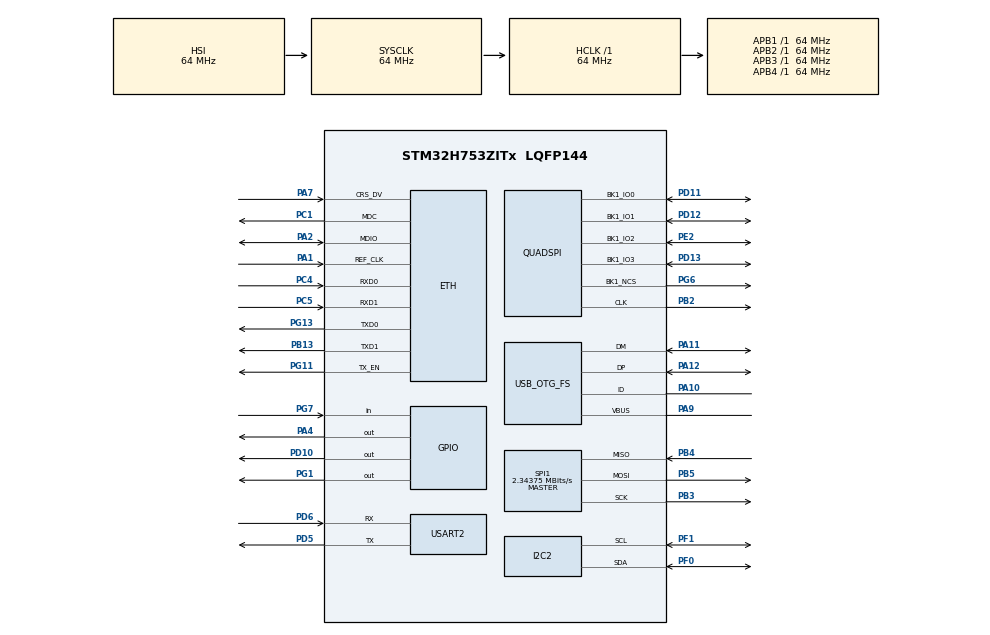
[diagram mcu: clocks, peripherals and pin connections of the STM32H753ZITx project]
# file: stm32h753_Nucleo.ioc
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CORTEX_M7.AccessPermission_S-Cortex_Memory_Protection_Unit_Region1_Settings_S=MPU_REGION_FULL_ACCESS
CORTEX_M7.BaseAddress_S-Cortex_Memory_Protection_Unit_Region1_Settings_S=0x30040000
CORTEX_M7.CPU_DCache=Enabled
CORTEX_M7.CPU_ICache=Disabled
CORTEX_M7.DisableExec_S-Cortex_Memory_Protection_Unit_Region1_Settings_S=MPU_INSTRUCTION_ACCESS_DISABLE
CORTEX_M7.Enable_S-Cortex_Memory_Protection_Unit_Region1_Settings_S=MPU_REGION_ENABLE
CORTEX_M7.IsBufferable_S-Cortex_Memory_Protection_Unit_Region1_Settings_S=MPU_ACCESS_BUFFERABLE
CORTEX_M7.IsShareable_S-Cortex_Memory_Protection_Unit_Region1_Settings_S=MPU_ACCESS_SHAREABLE
CORTEX_M7.MPU_Control=MPU_PRIVILEGED_DEFAULT
CORTEX_M7.Size_S-Cortex_Memory_Protection_Unit_Region1_Settings_S=MPU_REGION_SIZE_1KB
CORTEX_M7.default_mode_Activation=1
ETH.MACAddr=02\:00\:00\:00\:00\:01
ETH.MediaInterface=HAL_ETH_RMII_MODE
ETH.RxBufferAddress=0x30040400
ETH.RxDescAddress=0x30040000
ETH.TxDescAddress=0x30040200
LWIP.BSP.number=1
LWIP.GATEWAY_ADDRESS=192.168.002.001
LWIP.IP_ADDRESS=192.168.002.010
LWIP.LWIP_DHCP=0
LWIP.MEM_SIZE=16*1024
LWIP.NETMASK_ADDRESS=255.255.255.000
LWIP.TCP_MSS=1460
LWIP.TCP_SND_BUF=5840
LWIP.TCP_SND_QUEUELEN=16
LWIP.TCP_WND=5840
LWIP.Version=v2.2.1_Cube
LWIP0.BSP.STBoard=false
LWIP0.BSP.api=BSP_COMPONENT_DRIVER
LWIP0.BSP.component=LAN8742
LWIP0.BSP.instance=LAN8742
LWIP0.BSP.name=Driver_PHY
LWIP0.BSP.semaphore=S_LAN8742
LWIP0.BSP.solution=LAN8742
MBEDTLS.MBEDTLS_RNG_IP=HW_RNG
MBEDTLS.MBEDTLS_SSL_CLI_C=0
MBEDTLS.MBEDTLS_SSL_SRV_C=1
MBEDTLS.MBEDTLS_TCP_IP=0
Mcu.Family=STM32H7
Mcu.Name=STM32H753ZITx
Mcu.Package=LQFP144
NUCLEO-H753ZI.BUTTON=1
NUCLEO-H753ZI.Bsp_Common_DEMO=true
NUCLEO-H753ZI.LD1=true
NUCLEO-H753ZI.LD2=true
NUCLEO-H753ZI.LD3=true
NUCLEO-H753ZI.VCP=true
NVIC.ETH_IRQn=true\:0\:0\:false\:false\:true\:true\:true\:true
NVIC.EXTI15_10_IRQn=true\:0\:0\:false\:false\:true\:false\:true\:true
NVIC.PriorityGroup=NVIC_PRIORITYGROUP_4
NVIC.USART2_IRQn=true\:0\:0\:false\:false\:true\:true\:true\:true
PA1.Mode=RMII
PA1.Signal=ETH_REF_CLK
PA10.Mode=OTG/Dual_Role_Device
PA10.Signal=USB_OTG_FS_ID
PA11.Mode=OTG/Dual_Role_Device
PA11.Signal=USB_OTG_FS_DM
PA12.Mode=OTG/Dual_Role_Device
PA12.Signal=USB_OTG_FS_DP
PA2.Mode=RMII
PA2.Signal=ETH_MDIO
PA4.Signal=GPIO_Output
PA7.Mode=RMII
PA7.Signal=ETH_CRS_DV
PA9.Mode=Activate_VBUS_BCD
PA9.Signal=USB_OTG_FS_VBUS
PB13.Mode=RMII
PB13.Signal=ETH_TXD1
PB2.Mode=Single Bank 1
PB2.Signal=QUADSPI_CLK
PB3\ (JTDO/TRACESWO).Mode=Full_Duplex_Master
PB3\ (JTDO/TRACESWO).Signal=SPI1_SCK
PB4\ (NJTRST).Mode=Full_Duplex_Master
PB4\ (NJTRST).Signal=SPI1_MISO
PB5.Mode=Full_Duplex_Master
PB5.Signal=SPI1_MOSI
PC1.Mode=RMII
PC1.Signal=ETH_MDC
PC14-OSC32_IN\ (OSC32_IN).Signal=RCC_OSC32_IN
PC15-OSC32_OUT\ (OSC32_OUT).Signal=RCC_OSC32_OUT
PC4.Mode=RMII
PC4.Signal=ETH_RXD0
PC5.Mode=RMII
PC5.Signal=ETH_RXD1
PD10.Signal=GPIO_Output
PD11.Mode=Single Bank 1
PD11.Signal=QUADSPI_BK1_IO0
PD12.Mode=Single Bank 1
PD12.Signal=QUADSPI_BK1_IO1
PD13.Mode=Single Bank 1
PD13.Signal=QUADSPI_BK1_IO3
PD5.Mode=Asynchronous
PD5.Signal=USART2_TX
PD6.Mode=Asynchronous
PD6.Signal=USART2_RX
PD8.Signal=USART3_TX
PD9.Signal=USART3_RX
PE2.Mode=Single Bank 1
PE2.Signal=QUADSPI_BK1_IO2
PF0.Mode=I2C
PF0.Signal=I2C2_SDA
PF1.Mode=I2C
PF1.Signal=I2C2_SCL
PG1.GPIO_PuPd=GPIO_PULLDOWN
PG1.GPIO_Speed=GPIO_SPEED_FREQ_HIGH
PG1.Signal=GPIO_Output
PG11.Mode=RMII
PG11.Signal=ETH_TX_EN
PG13.Mode=RMII
PG13.Signal=ETH_TXD0
PG6.Mode=Single Bank 1
PG6.Signal=QUADSPI_BK1_NCS
PG7.Signal=GPIO_Input
PH0-OSC_IN\ (PH0).Signal=RCC_OSC_IN
PH1-OSC_OUT\ (PH1).Signal=RCC_OSC_OUT
ProjectManager.HeapSize=0x10000
ProjectManager.StackSize=0x2000
ProjectManager.TargetToolchain=STM32CubeIDE
RCC.ADCFreq_Value=129000000
RCC.APB1Freq_Value=64000000
RCC.APB2Freq_Value=64000000
RCC.APB3Freq_Value=64000000
RCC.APB4Freq_Value=64000000
RCC.CortexFreq_Value=64000000
RCC.DIVM1=4
RCC.DIVN1=9
RCC.DIVQ1=1
RCC.HCLKFreq_Value=64000000
RCC.HSE_VALUE=8000000
RCC.PLLFRACN=3072
RCC.PWR_Regulator_Voltage_Scale=PWR_REGULATOR_VOLTAGE_SCALE2
RCC.SYSCLKFreq_VALUE=64000000
RCC.USBCLockSelection=RCC_USBCLKSOURCE_HSI48
RCC.USBFreq_Value=48000000
SPI1.BaudRatePrescaler=SPI_BAUDRATEPRESCALER_64
SPI1.CalculateBaudRate=2.34375 MBits/s
SPI1.DataSize=SPI_DATASIZE_8BIT
SPI1.Direction=SPI_DIRECTION_2LINES
SPI1.Mode=SPI_MODE_MASTER
SPI1.NSSPMode=SPI_NSS_PULSE_DISABLE
SPI1.VirtualType=VM_MASTER
USART2.VirtualMode-Asynchronous=VM_ASYNC
USB_OTG_FS.VirtualMode=Dual_Role_Device_FS
VP_LWIP_VS_Enabled.Mode=Enabled
VP_MBEDTLS_VS_MBEDTLS.Mode=Enabled
VP_MEMORYMAP_VS_MEMORYMAP.Mode=CurAppReg
VP_NUCLEO-H753ZI_VS_BSP_COMMON.Mode=COMMON
VP_RNG_VS_RNG.Mode=RNG_Activate
VP_USB_OTG_FS1_USB_OTG_FS_DRD.Mode=activate_FS
board=NUCLEO-H753ZI

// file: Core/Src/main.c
/* USER CODE BEGIN Header */
/**
  ******************************************************************************
  * @file           : main.c
  * @brief          : Main program body
  ******************************************************************************
  * @attention
  *
  * Copyright (c) 2026 STMicroelectronics.
  * All rights reserved.
  *
  * This software is licensed under terms that can be found in the LICENSE file
  * in the root directory of this software component.
  * If no LICENSE file comes with this software, it is provided AS-IS.
  *
  ******************************************************************************
  */
/* USER CODE END Header */
#include "main.h"
#include "mbedtls.h"

/* USER CODE BEGIN Includes */
#include "lwip.h"
#include "uart_receive.h"
#include "command_parser.h"
/* USER CODE END Includes */

/* USER CODE BEGIN PD */
#define STRING_DATA_LENGTH 128
/* USER CODE END PD */

COM_InitTypeDef BspCOMInit;
__IO uint32_t BspButtonState = BUTTON_RELEASED;

I2C_HandleTypeDef hi2c2;

QSPI_HandleTypeDef hqspi;

RNG_HandleTypeDef hrng;

SPI_HandleTypeDef hspi1;

UART_HandleTypeDef huart2;

PCD_HandleTypeDef hpcd_USB_OTG_FS;
HCD_HandleTypeDef hhcd_USB_OTG_FS;

void SystemClock_Config(void);
static void MPU_Config(void);
static void MX_GPIO_Init(void);
static void MX_I2C2_Init(void);
static void MX_QUADSPI_Init(void);
static void MX_SPI1_Init(void);
static void MX_USART2_UART_Init(void);
static void MX_USB_OTG_FS_PCD_Init(void);
static void MX_RNG_Init(void);
/* USER CODE BEGIN PFP */
void Application_Execute(void);
void ETH_CheckMemoryLayout(void);
/* USER CODE END PFP */

/* USER CODE BEGIN 0 */
uint8_t send_data[STRING_DATA_LENGTH] = "";
/* USER CODE END 0 */

int main(void)
{

  /* MPU Configuration--------------------------------------------------------*/
  MPU_Config();

  /* Enable D-Cache---------------------------------------------------------*/
  SCB_EnableDCache();

  /* MCU Configuration--------------------------------------------------------*/

  /* Reset of all peripherals, Initializes the Flash interface and the Systick. */
  HAL_Init();

  /* Configure the system clock */
  SystemClock_Config();

  /* Initialize all configured peripherals */
  MX_GPIO_Init();
  MX_I2C2_Init();
  MX_QUADSPI_Init();
  MX_SPI1_Init();
  MX_USART2_UART_Init();
  MX_USB_OTG_FS_PCD_Init();
  MX_RNG_Init();
  MX_MBEDTLS_Init();
  MX_LWIP_Init();
  /* USER CODE BEGIN 2 */
  CommandParser_Init();
  UART_Receive_Start();

  /* USER CODE END 2 */

  /* Initialize leds */
  BSP_LED_Init(LED_GREEN);
  BSP_LED_Init(LED_YELLOW);
  BSP_LED_Init(LED_RED);

  /* Initialize USER push-button, will be used to trigger an interrupt each time it's pressed.*/
  BSP_PB_Init(BUTTON_USER, BUTTON_MODE_EXTI);

  /* Initialize COM1 port (115200, 8 bits (7-bit data + 1 stop bit), no parity */
  BspCOMInit.BaudRate   = 115200;
  BspCOMInit.WordLength = COM_WORDLENGTH_8B;
  BspCOMInit.StopBits   = COM_STOPBITS_1;
  BspCOMInit.Parity     = COM_PARITY_NONE;
  BspCOMInit.HwFlowCtl  = COM_HWCONTROL_NONE;
  if (BSP_COM_Init(COM1, &BspCOMInit) != BSP_ERROR_NONE)
  {
    Error_Handler();
  }

  /* USER CODE BEGIN BSP */

  /* -- Sample board code to send message over COM1 port ---- */
  printf("Welcome to STM32 world !\n\r");

  /* -- Sample board code to switch on leds ---- */
  BSP_LED_On(LED_GREEN);
  BSP_LED_On(LED_YELLOW);
  BSP_LED_On(LED_RED);

  /* USER CODE END BSP */

  /* Infinite loop */
  /* USER CODE BEGIN WHILE */
  strncpy((char *)send_data, "=== STM32H753 Ethernet Test ===\r\n", STRING_DATA_LENGTH);
  HAL_UART_Transmit(&huart2, send_data, STRING_DATA_LENGTH, 100);
  strncpy((char *)send_data, "Boot OK\r\n", STRING_DATA_LENGTH);
  HAL_UART_Transmit(&huart2, send_data, STRING_DATA_LENGTH, 100);
  strncpy((char *)send_data, "===============================\r\n", STRING_DATA_LENGTH);
  HAL_UART_Transmit(&huart2, send_data, STRING_DATA_LENGTH, 100);

  ETH_CheckMemoryLayout();
  while (1)
  {

    /* -- Sample board code for User push-button in interrupt mode ---- */
    if (BspButtonState == BUTTON_PRESSED)
    {
      /* Update button state */
      BspButtonState = BUTTON_RELEASED;
      /* -- Sample board code to toggle leds ---- */
      BSP_LED_Toggle(LED_GREEN);
      BSP_LED_Toggle(LED_YELLOW);
      BSP_LED_Toggle(LED_RED);

      /* ..... Perform your action ..... */
    }

    /*
     * 受信済みの文字を取り出して解析する。
     */
//    CommandParser_Execute();

    /*
     * その他のアプリケーション処理
     */
//    Application_Execute();
    MX_LWIP_Process();
    /* USER CODE END WHILE */

  }
}

void SystemClock_Config(void)
{
  RCC_OscInitTypeDef RCC_OscInitStruct = {0};
  RCC_ClkInitTypeDef RCC_ClkInitStruct = {0};

  /** Supply configuration update enable
  */
  HAL_PWREx_ConfigSupply(PWR_LDO_SUPPLY);

  /** Configure the main internal regulator output voltage
  */
  __HAL_PWR_VOLTAGESCALING_CONFIG(PWR_REGULATOR_VOLTAGE_SCALE2);

  while(!__HAL_PWR_GET_FLAG(PWR_FLAG_VOSRDY)) {}

  /** Initializes the RCC Oscillators according to the specified parameters
  * in the RCC_OscInitTypeDef structure.
  */
  RCC_OscInitStruct.OscillatorType = RCC_OSCILLATORTYPE_HSI48|RCC_OSCILLATORTYPE_HSI;
  RCC_OscInitStruct.HSIState = RCC_HSI_DIV1;
  RCC_OscInitStruct.HSICalibrationValue = RCC_HSICALIBRATION_DEFAULT;
  RCC_OscInitStruct.HSI48State = RCC_HSI48_ON;
  RCC_OscInitStruct.PLL.PLLState = RCC_PLL_ON;
  RCC_OscInitStruct.PLL.PLLSource = RCC_PLLSOURCE_HSI;
  RCC_OscInitStruct.PLL.PLLM = 4;
  RCC_OscInitStruct.PLL.PLLN = 9;
  RCC_OscInitStruct.PLL.PLLP = 2;
  RCC_OscInitStruct.PLL.PLLQ = 1;
  RCC_OscInitStruct.PLL.PLLR = 2;
  RCC_OscInitStruct.PLL.PLLRGE = RCC_PLL1VCIRANGE_3;
  RCC_OscInitStruct.PLL.PLLVCOSEL = RCC_PLL1VCOMEDIUM;
  RCC_OscInitStruct.PLL.PLLFRACN = 3072;
  if (HAL_RCC_OscConfig(&RCC_OscInitStruct) != HAL_OK)
  {
    Error_Handler();
  }

  /** Initializes the CPU, AHB and APB buses clocks
  */
  RCC_ClkInitStruct.ClockType = RCC_CLOCKTYPE_HCLK|RCC_CLOCKTYPE_SYSCLK
                              |RCC_CLOCKTYPE_PCLK1|RCC_CLOCKTYPE_PCLK2
                              |RCC_CLOCKTYPE_D3PCLK1|RCC_CLOCKTYPE_D1PCLK1;
  RCC_ClkInitStruct.SYSCLKSource = RCC_SYSCLKSOURCE_HSI;
  RCC_ClkInitStruct.SYSCLKDivider = RCC_SYSCLK_DIV1;
  RCC_ClkInitStruct.AHBCLKDivider = RCC_HCLK_DIV1;
  RCC_ClkInitStruct.APB3CLKDivider = RCC_APB3_DIV1;
  RCC_ClkInitStruct.APB1CLKDivider = RCC_APB1_DIV1;
  RCC_ClkInitStruct.APB2CLKDivider = RCC_APB2_DIV1;
  RCC_ClkInitStruct.APB4CLKDivider = RCC_APB4_DIV1;

  if (HAL_RCC_ClockConfig(&RCC_ClkInitStruct, FLASH_LATENCY_1) != HAL_OK)
  {
    Error_Handler();
  }
}

static void MX_I2C2_Init(void)
{

  hi2c2.Instance = I2C2;
  hi2c2.Init.Timing = 0x10707DBC;
  hi2c2.Init.OwnAddress1 = 0;
  hi2c2.Init.AddressingMode = I2C_ADDRESSINGMODE_7BIT;
  hi2c2.Init.DualAddressMode = I2C_DUALADDRESS_DISABLE;
  hi2c2.Init.OwnAddress2 = 0;
  hi2c2.Init.OwnAddress2Masks = I2C_OA2_NOMASK;
  hi2c2.Init.GeneralCallMode = I2C_GENERALCALL_DISABLE;
  hi2c2.Init.NoStretchMode = I2C_NOSTRETCH_DISABLE;
  if (HAL_I2C_Init(&hi2c2) != HAL_OK)
  {
    Error_Handler();
  }

  /** Configure Analogue filter
  */
  if (HAL_I2CEx_ConfigAnalogFilter(&hi2c2, I2C_ANALOGFILTER_ENABLE) != HAL_OK)
  {
    Error_Handler();
  }

  /** Configure Digital filter
  */
  if (HAL_I2CEx_ConfigDigitalFilter(&hi2c2, 0) != HAL_OK)
  {
    Error_Handler();
  }

}

static void MX_QUADSPI_Init(void)
{

  /* QUADSPI parameter configuration*/
  hqspi.Instance = QUADSPI;
  hqspi.Init.ClockPrescaler = 255;
  hqspi.Init.FifoThreshold = 1;
  hqspi.Init.SampleShifting = QSPI_SAMPLE_SHIFTING_NONE;
  hqspi.Init.FlashSize = 1;
  hqspi.Init.ChipSelectHighTime = QSPI_CS_HIGH_TIME_1_CYCLE;
  hqspi.Init.ClockMode = QSPI_CLOCK_MODE_0;
  hqspi.Init.FlashID = QSPI_FLASH_ID_1;
  hqspi.Init.DualFlash = QSPI_DUALFLASH_DISABLE;
  if (HAL_QSPI_Init(&hqspi) != HAL_OK)
  {
    Error_Handler();
  }

}

static void MX_RNG_Init(void)
{

  hrng.Instance = RNG;
  hrng.Init.ClockErrorDetection = RNG_CED_ENABLE;
  if (HAL_RNG_Init(&hrng) != HAL_OK)
  {
    Error_Handler();
  }

}

static void MX_SPI1_Init(void)
{

  /* SPI1 parameter configuration*/
  hspi1.Instance = SPI1;
  hspi1.Init.Mode = SPI_MODE_MASTER;
  hspi1.Init.Direction = SPI_DIRECTION_2LINES;
  hspi1.Init.DataSize = SPI_DATASIZE_8BIT;
  hspi1.Init.CLKPolarity = SPI_POLARITY_LOW;
  hspi1.Init.CLKPhase = SPI_PHASE_1EDGE;
  hspi1.Init.NSS = SPI_NSS_SOFT;
  hspi1.Init.BaudRatePrescaler = SPI_BAUDRATEPRESCALER_64;
  hspi1.Init.FirstBit = SPI_FIRSTBIT_MSB;
  hspi1.Init.TIMode = SPI_TIMODE_DISABLE;
  hspi1.Init.CRCCalculation = SPI_CRCCALCULATION_DISABLE;
  hspi1.Init.CRCPolynomial = 0x0;
  hspi1.Init.NSSPMode = SPI_NSS_PULSE_DISABLE;
  hspi1.Init.NSSPolarity = SPI_NSS_POLARITY_LOW;
  hspi1.Init.FifoThreshold = SPI_FIFO_THRESHOLD_01DATA;
  hspi1.Init.TxCRCInitializationPattern = SPI_CRC_INITIALIZATION_ALL_ZERO_PATTERN;
  hspi1.Init.RxCRCInitializationPattern = SPI_CRC_INITIALIZATION_ALL_ZERO_PATTERN;
  hspi1.Init.MasterSSIdleness = SPI_MASTER_SS_IDLENESS_00CYCLE;
  hspi1.Init.MasterInterDataIdleness = SPI_MASTER_INTERDATA_IDLENESS_00CYCLE;
  hspi1.Init.MasterReceiverAutoSusp = SPI_MASTER_RX_AUTOSUSP_DISABLE;
  hspi1.Init.MasterKeepIOState = SPI_MASTER_KEEP_IO_STATE_DISABLE;
  hspi1.Init.IOSwap = SPI_IO_SWAP_DISABLE;
  if (HAL_SPI_Init(&hspi1) != HAL_OK)
  {
    Error_Handler();
  }

}

static void MX_USART2_UART_Init(void)
{

  huart2.Instance = USART2;
  huart2.Init.BaudRate = 115200;
  huart2.Init.WordLength = UART_WORDLENGTH_8B;
  huart2.Init.StopBits = UART_STOPBITS_1;
  huart2.Init.Parity = UART_PARITY_NONE;
  huart2.Init.Mode = UART_MODE_TX_RX;
  huart2.Init.HwFlowCtl = UART_HWCONTROL_NONE;
  huart2.Init.OverSampling = UART_OVERSAMPLING_16;
  huart2.Init.OneBitSampling = UART_ONE_BIT_SAMPLE_DISABLE;
  huart2.Init.ClockPrescaler = UART_PRESCALER_DIV1;
  huart2.AdvancedInit.AdvFeatureInit = UART_ADVFEATURE_NO_INIT;
  if (HAL_UART_Init(&huart2) != HAL_OK)
  {
    Error_Handler();
  }
  if (HAL_UARTEx_SetTxFifoThreshold(&huart2, UART_TXFIFO_THRESHOLD_1_8) != HAL_OK)
  {
    Error_Handler();
  }
  if (HAL_UARTEx_SetRxFifoThreshold(&huart2, UART_RXFIFO_THRESHOLD_1_8) != HAL_OK)
  {
    Error_Handler();
  }
  if (HAL_UARTEx_DisableFifoMode(&huart2) != HAL_OK)
  {
    Error_Handler();
  }

}

static void MX_USB_OTG_FS_PCD_Init(void)
{

  hpcd_USB_OTG_FS.Instance = USB_OTG_FS;
  hpcd_USB_OTG_FS.Init.dev_endpoints = 9;
  hpcd_USB_OTG_FS.Init.speed = PCD_SPEED_FULL;
  hpcd_USB_OTG_FS.Init.dma_enable = DISABLE;
  hpcd_USB_OTG_FS.Init.phy_itface = PCD_PHY_EMBEDDED;
  hpcd_USB_OTG_FS.Init.Sof_enable = DISABLE;
  hpcd_USB_OTG_FS.Init.low_power_enable = DISABLE;
  hpcd_USB_OTG_FS.Init.lpm_enable = DISABLE;
  hpcd_USB_OTG_FS.Init.battery_charging_enable = ENABLE;
  hpcd_USB_OTG_FS.Init.vbus_sensing_enable = ENABLE;
  hpcd_USB_OTG_FS.Init.use_dedicated_ep1 = DISABLE;
  if (HAL_PCD_Init(&hpcd_USB_OTG_FS) != HAL_OK)
  {
    Error_Handler();
  }

}

void MX_USB_OTG_FS_HCD_Init(void)
{

  hhcd_USB_OTG_FS.Instance = USB_OTG_FS;
  hhcd_USB_OTG_FS.Init.Host_channels = 16;
  hhcd_USB_OTG_FS.Init.speed = HCD_SPEED_FULL;
  hhcd_USB_OTG_FS.Init.dma_enable = DISABLE;
  hhcd_USB_OTG_FS.Init.phy_itface = HCD_PHY_EMBEDDED;
  hhcd_USB_OTG_FS.Init.Sof_enable = DISABLE;
  if (HAL_HCD_Init(&hhcd_USB_OTG_FS) != HAL_OK)
  {
    Error_Handler();
  }

}

static void MX_GPIO_Init(void)
{
  GPIO_InitTypeDef GPIO_InitStruct = {0};

  /* GPIO Ports Clock Enable */
  __HAL_RCC_GPIOE_CLK_ENABLE();
  __HAL_RCC_GPIOC_CLK_ENABLE();
  __HAL_RCC_GPIOF_CLK_ENABLE();
  __HAL_RCC_GPIOH_CLK_ENABLE();
  __HAL_RCC_GPIOA_CLK_ENABLE();
  __HAL_RCC_GPIOB_CLK_ENABLE();
  __HAL_RCC_GPIOG_CLK_ENABLE();
  __HAL_RCC_GPIOD_CLK_ENABLE();

  /*Configure GPIO pin Output Level */
  HAL_GPIO_WritePin(GPIOA, GPIO_PIN_4, GPIO_PIN_RESET);

  /*Configure GPIO pin Output Level */
  HAL_GPIO_WritePin(GPIOG, GPIO_PIN_1, GPIO_PIN_RESET);

  /*Configure GPIO pin Output Level */
  HAL_GPIO_WritePin(GPIOD, GPIO_PIN_10, GPIO_PIN_RESET);

  /*Configure GPIO pin : PA4 */
  GPIO_InitStruct.Pin = GPIO_PIN_4;
  GPIO_InitStruct.Mode = GPIO_MODE_OUTPUT_PP;
  GPIO_InitStruct.Pull = GPIO_NOPULL;
  GPIO_InitStruct.Speed = GPIO_SPEED_FREQ_LOW;
  HAL_GPIO_Init(GPIOA, &GPIO_InitStruct);

  /*Configure GPIO pin : PG1 */
  GPIO_InitStruct.Pin = GPIO_PIN_1;
  GPIO_InitStruct.Mode = GPIO_MODE_OUTPUT_PP;
  GPIO_InitStruct.Pull = GPIO_PULLDOWN;
  GPIO_InitStruct.Speed = GPIO_SPEED_FREQ_HIGH;
  HAL_GPIO_Init(GPIOG, &GPIO_InitStruct);

  /*Configure GPIO pin : PD10 */
  GPIO_InitStruct.Pin = GPIO_PIN_10;
  GPIO_InitStruct.Mode = GPIO_MODE_OUTPUT_PP;
  GPIO_InitStruct.Pull = GPIO_NOPULL;
  GPIO_InitStruct.Speed = GPIO_SPEED_FREQ_LOW;
  HAL_GPIO_Init(GPIOD, &GPIO_InitStruct);

  /*Configure GPIO pin : PG7 */
  GPIO_InitStruct.Pin = GPIO_PIN_7;
  GPIO_InitStruct.Mode = GPIO_MODE_INPUT;
  GPIO_InitStruct.Pull = GPIO_NOPULL;
  HAL_GPIO_Init(GPIOG, &GPIO_InitStruct);

}

/* USER CODE BEGIN 4 */
void Application_Execute(void) {

}

void ETH_CheckMemoryLayout(void) {
	snprintf((char *)send_data, STRING_DATA_LENGTH, "RX Desc = 0x%08lX\r\n", (unsigned long)DMARxDscrTab);
	HAL_UART_Transmit(&huart2, send_data, STRING_DATA_LENGTH, 100);
	snprintf((char *)send_data, STRING_DATA_LENGTH, "TX Desc = 0x%08lX\r\n", (unsigned long)DMATxDscrTab);
	HAL_UART_Transmit(&huart2, send_data, STRING_DATA_LENGTH, 100);

	if ((uintptr_t)DMARxDscrTab != 0x30040000UL) {
		snprintf((char *)send_data, STRING_DATA_LENGTH, "ERROR: RX descriptor address\r\n");
		HAL_UART_Transmit(&huart2, send_data, STRING_DATA_LENGTH, 100);
		Error_Handler();
	}

	if ((uintptr_t)DMATxDscrTab != 0x30040200UL) {
		snprintf((char *)send_data, STRING_DATA_LENGTH, "ERROR: TX descriptor address\r\n");
		HAL_UART_Transmit(&huart2, send_data, STRING_DATA_LENGTH, 100);
		Error_Handler();
	}

	snprintf((char *)send_data, STRING_DATA_LENGTH, "ETH memory layout OK\r\n");
	HAL_UART_Transmit(&huart2, send_data, STRING_DATA_LENGTH, 100);
}
/* USER CODE END 4 */

 /* MPU Configuration */

void MPU_Config(void)
{
  MPU_Region_InitTypeDef MPU_InitStruct = {0};

  /* Disables the MPU */
  HAL_MPU_Disable();

  /** Initializes and configures the Region and the memory to be protected
  */
  MPU_InitStruct.Enable = MPU_REGION_ENABLE;
  MPU_InitStruct.Number = MPU_REGION_NUMBER0;
  MPU_InitStruct.BaseAddress = 0x0;
  MPU_InitStruct.Size = MPU_REGION_SIZE_4GB;
  MPU_InitStruct.SubRegionDisable = 0x87;
  MPU_InitStruct.TypeExtField = MPU_TEX_LEVEL0;
  MPU_InitStruct.AccessPermission = MPU_REGION_NO_ACCESS;
  MPU_InitStruct.DisableExec = MPU_INSTRUCTION_ACCESS_DISABLE;
  MPU_InitStruct.IsShareable = MPU_ACCESS_SHAREABLE;
  MPU_InitStruct.IsCacheable = MPU_ACCESS_NOT_CACHEABLE;
  MPU_InitStruct.IsBufferable = MPU_ACCESS_NOT_BUFFERABLE;

  HAL_MPU_ConfigRegion(&MPU_InitStruct);

  /** Initializes and configures the Region and the memory to be protected
  */
  MPU_InitStruct.Number = MPU_REGION_NUMBER1;
  MPU_InitStruct.BaseAddress = 0x30040000;
  MPU_InitStruct.Size = MPU_REGION_SIZE_1KB;
  MPU_InitStruct.SubRegionDisable = 0x0;
  MPU_InitStruct.AccessPermission = MPU_REGION_FULL_ACCESS;
  MPU_InitStruct.IsBufferable = MPU_ACCESS_BUFFERABLE;

  HAL_MPU_ConfigRegion(&MPU_InitStruct);
  /* Enables the MPU */
  HAL_MPU_Enable(MPU_PRIVILEGED_DEFAULT);

}

/**
  * @brief BSP Push Button callback
  * @param Button Specifies the pressed button
  * @retval None
  */
void BSP_PB_Callback(Button_TypeDef Button)
{
  if (Button == BUTTON_USER)
  {
    BspButtonState = BUTTON_PRESSED;
  }
}

void Error_Handler(void)
{
  __disable_irq();
  while (1)
  {
  }
}
